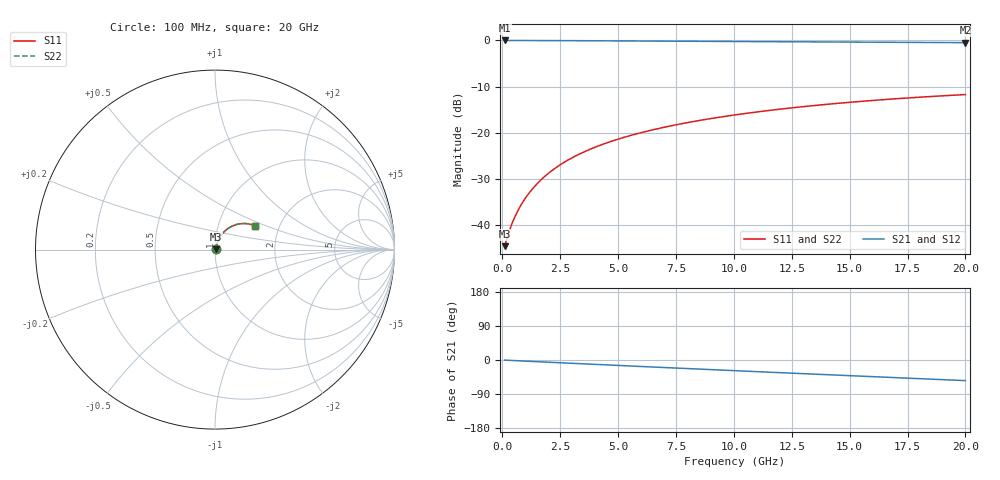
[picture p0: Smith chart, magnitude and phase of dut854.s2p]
! Touchstone file exported from HFSS 2026.1.0
!  File:  C:/ffzhzh/LocalFiles/Ansys_Project_Files/temp_train_TMRDL_854_1783157030_22436.aedt
!  Generated:  05:25:10 PM Jul  4, 2026
!  Design:  TMRDL
!  Project:  temp_train_TMRDL_854_1783157030_22436
! Variables:
!  h_bsmrdl = 2um
!  h_ox = 20um
!  h_rdl = 5um
!  h_sub = 80um
!  h_tmrdl = 5.08um
!  h_tsv = 80um
!  h_via = 3um
!  l_bsmrdl = 300um
!  l_sub = 1365.99um
!  l_tmrdl = 965.99um
!  m_sub = 200um
!  pitch = 21.3um
!  r_tsv = 6um
!  s_tmrdl = 10um
!  w_bsmrdl = 18um
!  w_sub = 500um
!  w_tmrdl = 12.28um
!  x_tsv_center1 = 972.13um
!  x_tsv_center2 = 1290.13um
!  x_tsv_center3 = 2268.4um
!  x_tsv_center4 = 2586.4um
!  x_tsv_center5 = 3564.67um
!  x_tsv_center6 = 3882.67um
# GHz S MA R 50.000000
! Terminal data exported
! Port[1] = TM_RDL1_1_T1
! Port[2] = TM_RDL1_1_T2
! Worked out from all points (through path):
!   200 points, 100 MHz to 20 GHz, reference 50 ohm
!   highest |S21| = -0.05 dB at 100 MHz (marker M1); lowest = -0.5 dB at 20 GHz (marker M2)
!   group delay of S21, straight-line fit = 7.52 ps
!   lowest |S11| = -44.5 dB at 100 MHz (marker M3), VSWR 1.01, Z = 50.6 + j0.22 ohm
!   |S11| at or under -10 dB: start of sweep to end of sweep
!   |S22| runs from -44.5 to -11.7 dB; largest |S21 - S12| = 1e-14
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0.1  0.005966 21.4  0.9945 -0.3  0.9945 -0.3  0.005966 21.4
! Gamma 0 0 0 0
! Port Impedance 50 0 50 0
0.3  0.008669 44.4  0.9939 -0.9  0.9939 -0.9  0.008669 44.4
0.4  0.01018 50.2  0.9936 -1.2  0.9936 -1.2  0.01018 50.2
0.6  0.01327 57.9  0.9932 -1.8  0.9932 -1.8  0.01327 57.9
0.7  0.01485 60.6  0.9931 -2.1  0.9931 -2.1  0.01485 60.6
0.9  0.01808 64.4  0.9928 -2.7  0.9928 -2.7  0.01808 64.4
1.1  0.0214 67.0  0.9926 -3.2  0.9926 -3.2  0.0214 67.0
1.3  0.02476 68.7  0.9923 -3.8  0.9923 -3.8  0.02476 68.7
1.7  0.03155 70.6  0.9917 -5.0  0.9917 -5.0  0.03155 70.6
2.2  0.04006 71.4  0.9908 -6.4  0.9908 -6.4  0.04006 71.4
2.8  0.05016 71.2  0.9895 -8.2  0.9895 -8.2  0.05016 71.2
3.5  0.06171 70.2  0.9878 -10.2  0.9878 -10.2  0.06171 70.3
4.2  0.07296 68.9  0.986 -12.1  0.986 -12.1  0.07295 68.9
5  0.08543 67.1  0.9838 -14.4  0.9838 -14.4  0.08543 67.2
5.9  0.09901 65.0  0.9812 -16.9  0.9812 -16.9  0.099 65.1
6.8  0.1121 62.9  0.9786 -19.4  0.9786 -19.4  0.1121 62.9
8.3  0.1331 59.2  0.9742 -23.5  0.9742 -23.5  0.133 59.3
10.1  0.1568 54.8  0.9689 -28.3  0.9689 -28.3  0.1567 54.9
11.7  0.1766 50.9  0.9643 -32.6  0.9643 -32.6  0.1765 51.0
13.4  0.1963 46.8  0.9594 -37.2  0.9594 -37.2  0.1963 46.9
16.7  0.2305 38.7  0.9502 -45.8  0.9502 -45.8  0.2304 38.8
20  0.2589 30.7  0.9418 -54.4  0.9418 -54.4  0.2588 30.8
